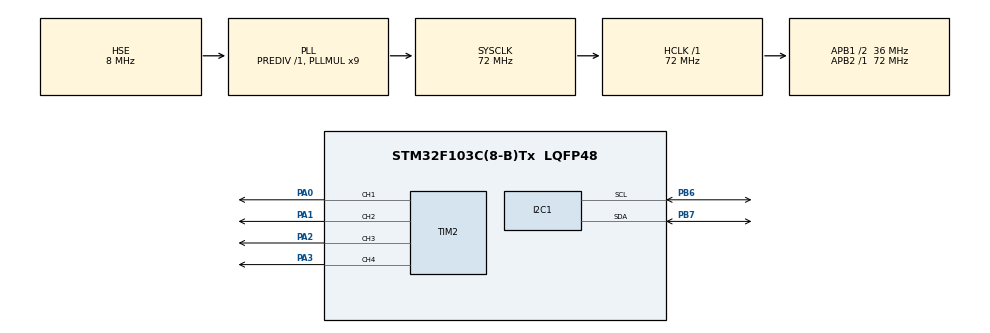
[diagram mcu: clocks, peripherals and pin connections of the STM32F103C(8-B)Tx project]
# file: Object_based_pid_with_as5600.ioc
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Mcu.Family=STM32F1
Mcu.Name=STM32F103C(8-B)Tx
Mcu.Package=LQFP48
NVIC.I2C1_ER_IRQn=true\:0\:0\:false\:false\:true\:true\:true\:true
NVIC.I2C1_EV_IRQn=true\:0\:0\:false\:false\:true\:true\:true\:true
NVIC.PriorityGroup=NVIC_PRIORITYGROUP_4
NVIC.TIM2_IRQn=true\:0\:0\:false\:false\:true\:true\:true\:true
NVIC.TIM3_IRQn=true\:0\:0\:false\:false\:true\:true\:true\:true
PA0-WKUP.Signal=S_TIM2_CH1_ETR
PA1.Signal=S_TIM2_CH2
PA13.Mode=Serial_Wire
PA13.Signal=SYS_JTMS-SWDIO
PA14.Mode=Serial_Wire
PA14.Signal=SYS_JTCK-SWCLK
PA2.Signal=S_TIM2_CH3
PA3.Signal=S_TIM2_CH4
PB6.Mode=I2C
PB6.Signal=I2C1_SCL
PB7.Mode=I2C
PB7.Signal=I2C1_SDA
PD0-OSC_IN.Mode=HSE-External-Oscillator
PD0-OSC_IN.Signal=RCC_OSC_IN
PD1-OSC_OUT.Mode=HSE-External-Oscillator
PD1-OSC_OUT.Signal=RCC_OSC_OUT
ProjectManager.HeapSize=0x200
ProjectManager.StackSize=0x400
ProjectManager.TargetToolchain=STM32CubeIDE
RCC.AHBFreq_Value=72000000
RCC.APB1CLKDivider=RCC_HCLK_DIV2
RCC.APB1Freq_Value=36000000
RCC.APB1TimFreq_Value=72000000
RCC.APB2Freq_Value=72000000
RCC.APB2TimFreq_Value=72000000
RCC.HCLKFreq_Value=72000000
RCC.PLLMUL=RCC_PLL_MUL9
RCC.PLLSourceVirtual=RCC_PLLSOURCE_HSE
RCC.SYSCLKFreq_VALUE=72000000
RCC.SYSCLKSource=RCC_SYSCLKSOURCE_PLLCLK
RCC.USBFreq_Value=72000000
SH.S_TIM2_CH1_ETR.0=TIM2_CH1,PWM Generation1 CH1
SH.S_TIM2_CH2.0=TIM2_CH2,PWM Generation2 CH2
SH.S_TIM2_CH3.0=TIM2_CH3,PWM Generation3 CH3
SH.S_TIM2_CH4.0=TIM2_CH4,PWM Generation4 CH4
TIM2.Channel-PWM\ Generation1\ CH1=TIM_CHANNEL_1
TIM2.Channel-PWM\ Generation2\ CH2=TIM_CHANNEL_2
TIM2.Channel-PWM\ Generation3\ CH3=TIM_CHANNEL_3
TIM2.Channel-PWM\ Generation4\ CH4=TIM_CHANNEL_4
TIM3.AutoReloadPreload=TIM_AUTORELOAD_PRELOAD_ENABLE
TIM3.Period=1000
TIM3.Prescaler=7200-1
VP_TIM2_VS_ClockSourceINT.Mode=Internal
VP_TIM3_VS_ClockSourceINT.Mode=Internal
board=custom

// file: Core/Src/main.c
/* USER CODE BEGIN Header */
/**
  ******************************************************************************
  * @file           : main.c
  * @brief          : Main program body
  * @author         : Devesh shevde
  ******************************************************************************
  * @attention
  *
  * Copyright (c) 2022 STMicroelectronics.
  * All rights reserved.
  *
  * This software is licensed under terms that can be found in the LICENSE file
  * in the root directory of this software component.
  * If no LICENSE file comes with this software, it is provided AS-IS.
  *
  ******************************************************************************
  */
/* USER CODE END Header */
#include "main.h"

/* USER CODE BEGIN Includes */
#include "as5600.h"
#include "stdlib.h"
#include "PID.h"
#include "micros.h"
#include <math.h>
#include <stdio.h>
/* USER CODE END Includes */

/* USER CODE BEGIN PTD */
#define MAX_PWM 0
/* USER CODE END PTD */

/* USER CODE BEGIN PM */
//dont change this
uint8_t data[2] = {0};

float actual_speed ;
float set_speed = 0 ;
float error_speed = 0 ;
float angle;
float speed ;
/* USER CODE END PM */

I2C_HandleTypeDef hi2c1;

TIM_HandleTypeDef htim2;
TIM_HandleTypeDef htim3;

/* USER CODE BEGIN PV */
void HAL_TIM_PeriodElapsedCallback(TIM_HandleTypeDef* htim)
{
	AS5600_TypeDef* sensor = AS5600_new();
	AS5600_init(sensor);
	uint32_t time = micros();
    angle = AS5600_get_angle(sensor, &angle);
    int time_spent = time - prev_time;
    speed = angle/time_spent;
    prev_time = time;
   //RPM IS STILL NEED TO BE CALCULATED NOT I WILL USE MICROS FOR DELTA TIME
}

PID_var PID1 (PID_cons con1 , PID_var var1)
 {
	double error = var1.target_rpm - var1.rpm_from_as5600;
	var1.time = micros();
	sampletime = var1.time - prev_time;
	var1.eintegral += error * sampletime;//euler app.
	double derivative = (error - var1.prev_error)/sampletime;
	var1.output = (con1.kp * error) + (con1.ki * var1.eintegral) + (con1.kd * derivative);
	var1.prev_error = error;
	prev_time = var1.time;
	return var1;
 }
/* USER CODE END PV */

void SystemClock_Config(void);
static void MX_GPIO_Init(void);
static void MX_I2C1_Init(void);
static void MX_TIM2_Init(void);
static void MX_TIM3_Init(void);

int main(void)
{

  /* MCU Configuration--------------------------------------------------------*/

  /* Reset of all peripherals, Initializes the Flash interface and the Systick. */
  HAL_Init();

  /* USER CODE BEGIN Init */
  HAL_TIM_PWM_Start(&htim2, TIM_CHANNEL_ALL);
  /* USER CODE END Init */

  /* Configure the system clock */
  SystemClock_Config();

  /* USER CODE BEGIN SysInit */
  DWT_Init();
  /* USER CODE END SysInit */

  /* Initialize all configured peripherals */
  MX_GPIO_Init();
  MX_I2C1_Init();
  MX_TIM2_Init();
  MX_TIM3_Init();
  /* USER CODE BEGIN 2 */
   PID_cons con;
   PID_var var ;
   motor mot;
  /* USER CODE END 2 */

  /* Infinite loop */
  /* USER CODE BEGIN WHILE */
  while (1)
  {
	  //updates our pid input everytime;

	  var.rpm_from_as5600 = actual_speed ;
	  var.target_rpm = set_speed;

	  //initialising pid values for specific motor;
	  con.kd = 0;
	  con.kp = 0;
	  con.ki = 0;

	  //calls pid
	  //PID will update output values
	  //update value  -> writing as pwm;

	  PID1(con, var);
	  mot.m1 = (int)var.output;
	  if(mot.m1 > 255){
	  TIM2->CCR1 = MAX_PWM;
	  }
	  else{
		  TIM2->CCR1 = mot.m1;
	  }

    /* USER CODE END WHILE */

  }
}

void SystemClock_Config(void)
{
  RCC_OscInitTypeDef RCC_OscInitStruct = {0};
  RCC_ClkInitTypeDef RCC_ClkInitStruct = {0};

  /** Initializes the RCC Oscillators according to the specified parameters
  * in the RCC_OscInitTypeDef structure.
  */
  RCC_OscInitStruct.OscillatorType = RCC_OSCILLATORTYPE_HSE;
  RCC_OscInitStruct.HSEState = RCC_HSE_ON;
  RCC_OscInitStruct.HSEPredivValue = RCC_HSE_PREDIV_DIV1;
  RCC_OscInitStruct.HSIState = RCC_HSI_ON;
  RCC_OscInitStruct.PLL.PLLState = RCC_PLL_ON;
  RCC_OscInitStruct.PLL.PLLSource = RCC_PLLSOURCE_HSE;
  RCC_OscInitStruct.PLL.PLLMUL = RCC_PLL_MUL9;
  if (HAL_RCC_OscConfig(&RCC_OscInitStruct) != HAL_OK)
  {
    Error_Handler();
  }

  /** Initializes the CPU, AHB and APB buses clocks
  */
  RCC_ClkInitStruct.ClockType = RCC_CLOCKTYPE_HCLK|RCC_CLOCKTYPE_SYSCLK
                              |RCC_CLOCKTYPE_PCLK1|RCC_CLOCKTYPE_PCLK2;
  RCC_ClkInitStruct.SYSCLKSource = RCC_SYSCLKSOURCE_PLLCLK;
  RCC_ClkInitStruct.AHBCLKDivider = RCC_SYSCLK_DIV1;
  RCC_ClkInitStruct.APB1CLKDivider = RCC_HCLK_DIV2;
  RCC_ClkInitStruct.APB2CLKDivider = RCC_HCLK_DIV1;

  if (HAL_RCC_ClockConfig(&RCC_ClkInitStruct, FLASH_LATENCY_2) != HAL_OK)
  {
    Error_Handler();
  }
}

static void MX_I2C1_Init(void)
{

  hi2c1.Instance = I2C1;
  hi2c1.Init.ClockSpeed = 100000;
  hi2c1.Init.DutyCycle = I2C_DUTYCYCLE_2;
  hi2c1.Init.OwnAddress1 = 0;
  hi2c1.Init.AddressingMode = I2C_ADDRESSINGMODE_7BIT;
  hi2c1.Init.DualAddressMode = I2C_DUALADDRESS_DISABLE;
  hi2c1.Init.OwnAddress2 = 0;
  hi2c1.Init.GeneralCallMode = I2C_GENERALCALL_DISABLE;
  hi2c1.Init.NoStretchMode = I2C_NOSTRETCH_DISABLE;
  if (HAL_I2C_Init(&hi2c1) != HAL_OK)
  {
    Error_Handler();
  }

}

static void MX_TIM2_Init(void)
{

  TIM_ClockConfigTypeDef sClockSourceConfig = {0};
  TIM_MasterConfigTypeDef sMasterConfig = {0};
  TIM_OC_InitTypeDef sConfigOC = {0};

  htim2.Instance = TIM2;
  htim2.Init.Prescaler = 0;
  htim2.Init.CounterMode = TIM_COUNTERMODE_UP;
  htim2.Init.Period = 65535;
  htim2.Init.ClockDivision = TIM_CLOCKDIVISION_DIV1;
  htim2.Init.AutoReloadPreload = TIM_AUTORELOAD_PRELOAD_DISABLE;
  if (HAL_TIM_Base_Init(&htim2) != HAL_OK)
  {
    Error_Handler();
  }
  sClockSourceConfig.ClockSource = TIM_CLOCKSOURCE_INTERNAL;
  if (HAL_TIM_ConfigClockSource(&htim2, &sClockSourceConfig) != HAL_OK)
  {
    Error_Handler();
  }
  if (HAL_TIM_PWM_Init(&htim2) != HAL_OK)
  {
    Error_Handler();
  }
  sMasterConfig.MasterOutputTrigger = TIM_TRGO_RESET;
  sMasterConfig.MasterSlaveMode = TIM_MASTERSLAVEMODE_DISABLE;
  if (HAL_TIMEx_MasterConfigSynchronization(&htim2, &sMasterConfig) != HAL_OK)
  {
    Error_Handler();
  }
  sConfigOC.OCMode = TIM_OCMODE_PWM1;
  sConfigOC.Pulse = 0;
  sConfigOC.OCPolarity = TIM_OCPOLARITY_HIGH;
  sConfigOC.OCFastMode = TIM_OCFAST_DISABLE;
  if (HAL_TIM_PWM_ConfigChannel(&htim2, &sConfigOC, TIM_CHANNEL_1) != HAL_OK)
  {
    Error_Handler();
  }
  if (HAL_TIM_PWM_ConfigChannel(&htim2, &sConfigOC, TIM_CHANNEL_2) != HAL_OK)
  {
    Error_Handler();
  }
  if (HAL_TIM_PWM_ConfigChannel(&htim2, &sConfigOC, TIM_CHANNEL_3) != HAL_OK)
  {
    Error_Handler();
  }
  if (HAL_TIM_PWM_ConfigChannel(&htim2, &sConfigOC, TIM_CHANNEL_4) != HAL_OK)
  {
    Error_Handler();
  }
  HAL_TIM_MspPostInit(&htim2);

}

static void MX_TIM3_Init(void)
{

  TIM_ClockConfigTypeDef sClockSourceConfig = {0};
  TIM_MasterConfigTypeDef sMasterConfig = {0};

  htim3.Instance = TIM3;
  htim3.Init.Prescaler = 7200-1;
  htim3.Init.CounterMode = TIM_COUNTERMODE_UP;
  htim3.Init.Period = 1000;
  htim3.Init.ClockDivision = TIM_CLOCKDIVISION_DIV1;
  htim3.Init.AutoReloadPreload = TIM_AUTORELOAD_PRELOAD_ENABLE;
  if (HAL_TIM_Base_Init(&htim3) != HAL_OK)
  {
    Error_Handler();
  }
  sClockSourceConfig.ClockSource = TIM_CLOCKSOURCE_INTERNAL;
  if (HAL_TIM_ConfigClockSource(&htim3, &sClockSourceConfig) != HAL_OK)
  {
    Error_Handler();
  }
  sMasterConfig.MasterOutputTrigger = TIM_TRGO_RESET;
  sMasterConfig.MasterSlaveMode = TIM_MASTERSLAVEMODE_DISABLE;
  if (HAL_TIMEx_MasterConfigSynchronization(&htim3, &sMasterConfig) != HAL_OK)
  {
    Error_Handler();
  }

}

static void MX_GPIO_Init(void)
{

  /* GPIO Ports Clock Enable */
  __HAL_RCC_GPIOD_CLK_ENABLE();
  __HAL_RCC_GPIOA_CLK_ENABLE();
  __HAL_RCC_GPIOB_CLK_ENABLE();

}

void Error_Handler(void)
{
  __disable_irq();
  while (1)
  {
  }
}
